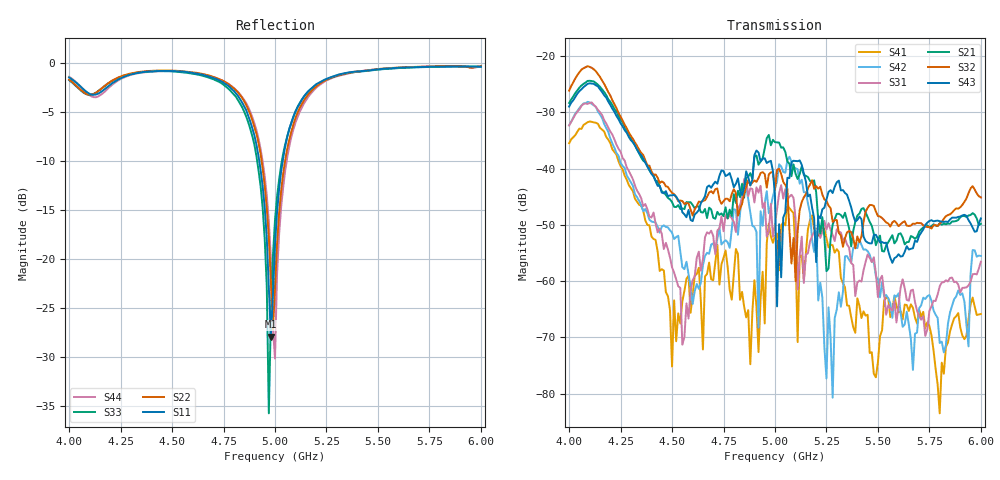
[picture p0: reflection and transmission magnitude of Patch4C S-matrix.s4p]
!Keysight Technologies,N5227A,US51270384,A.10.49.03
!Date: Wednesday, March 04, 2020 16:34:26
!Correction: S11(Full 4 Port(1,2,3,4))
!S12(Full 4 Port(1,2,3,4))
!S13(Full 4 Port(1,2,3,4))
!S14(Full 4 Port(1,2,3,4))
!S21(Full 4 Port(1,2,3,4))
!S22(Full 4 Port(1,2,3,4))
!S23(Full 4 Port(1,2,3,4))
!S24(Full 4 Port(1,2,3,4))
!S31(Full 4 Port(1,2,3,4))
!S32(Full 4 Port(1,2,3,4))
!S33(Full 4 Port(1,2,3,4))
!S34(Full 4 Port(1,2,3,4))
!S41(Full 4 Port(1,2,3,4))
!S42(Full 4 Port(1,2,3,4))
!S43(Full 4 Port(1,2,3,4))
!S44(Full 4 Port(1,2,3,4))
!S4P File: Measurements: <S11,S12,S13,S14>,
!<S21,S22,S23,S24>,
!<S31,S32,S33,S34>,
!<S41,S42,S43,S44>:
# Hz S  RI  R 50
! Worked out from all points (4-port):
!   201 points, 4 GHz to 6 GHz, reference 50 ohm
!   strongest paths, dB at 4 GHz, 4.5 GHz, 5 GHz, 5.5 GHz, 6 GHz:
!     S43: -29.0, -44.8, -44.9, -52.4, -48.9
!     S32: -26.2, -44.3, -43.8, -48.4, -45.1
!     S21: -28.4, -46.0, -35.3, -52.5, -49.8
!     S31: -32.4, -57.6, -50.0, -62.8, -56.5
!     S42: -32.3, -51.4, -43.5, -59.8, -55.5
!     S41: -35.5, -75.2, -52.0, -74.4, -65.8
!   lowest |S11| = -27.9 dB at 4.98 GHz (marker M1), VSWR 1.08, Z = 53.2 + j2.61 ohm
!   |S11| at or under -10 dB: 4.924 GHz to 5.037 GHz (113.8 MHz wide, 2.28 % of centre)
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4e9  0.6851 -0.4983  -0.00892 -0.0371  0.0167 -0.0174  0.0162 0.00411
     -0.00898 -0.0372  0.6051 -0.5626  -0.00473 -0.0489  0.0178 -0.0165
     0.0167 -0.0173  -0.00472 -0.0489  0.5254 -0.6304  -0.00924 -0.0342
     0.0162 0.00425  0.0177 -0.0166  -0.00912 -0.0343  0.7416 -0.4222
4.17e9  -0.7139 0.1715  -0.0182 0.0443  -0.0211 0.0168  -0.021 -0.00535
        -0.0183 0.0443  -0.6791 0.3463  -0.0117 0.0555  -0.0188 0.0164
        -0.0211 0.0168  -0.0117 0.0555  -0.6336 0.4237  -0.0165 0.0417
        -0.0207 -0.00535  -0.0187 0.0166  -0.0167 0.0417  -0.701 0.1238
4.55e9  0.6049 0.6758  0.00426 0.00129  0.000227 -0.000139  0.000117 0.000582
        0.00424 0.00126  0.5946 0.6898  0.00518 0.000158  0.00132 -0.000623
        0.000228 -0.000149  0.00515 0.000132  0.6821 0.5866  0.00411 0.000202
        0.000156 0.000644  0.0012 -0.000581  0.00409 0.000173  0.6131 0.6659
4.98e9  0.0319 0.0245  0.01 -0.0126  -0.000741 -0.00483  -0.00143 -0.00227
        0.01 -0.0126  0.0751 -0.0176  0.00212 -0.00896  0.00352 -0.00282
        -0.000694 -0.00482  0.00219 -0.00898  -0.0355 0.0353  -0.0048 -0.011
        -0.00113 -0.00222  0.00357 -0.00296  -0.00471 -0.0107  0.0847 -0.0545
5.01e9  -0.0483 0.1667  0.00475 -0.0163  0.000454 -0.00436  0.001 0.00246
        0.00482 -0.0164  -0.0178 0.1192  0.00234 -0.00943  0.00603 -0.00536
        0.000485 -0.00435  0.00242 -0.00943  -0.0715 0.1958  -0.000606 0.000317
        0.000828 0.00251  0.00573 -0.00514  -0.000596 -2.84e-05  -0.0187 0.0818
5.28e9  0.52 0.679  -0.00112 -0.00297  0.00245 0.000814  -0.000948 0.00189
        -0.00109 -0.00299  0.4942 0.6935  -0.00311 -0.0013  4.64e-05 -8.3e-05
        0.00245 0.000816  -0.00311 -0.00129  0.5556 0.6419  -0.00335 -0.00511
        -0.000974 0.00184  -1.26e-06 -9.24e-05  -0.00347 -0.00497  0.4898 0.687
6e9  0.9473 -0.1507  -0.00319 -0.000454  -0.001 0.00108  -7.19e-05 0.00051
     -0.00319 -0.000453  0.9605 -0.0823  -0.00543 0.00112  -0.00144 0.000918
     -0.00102 0.00109  -0.00543 0.00114  0.9346 -0.2311  -0.00349 -0.000839
     -7.19e-05 0.000506  -0.00138 0.000946  -0.00351 -0.00086  0.9558 -0.1054
